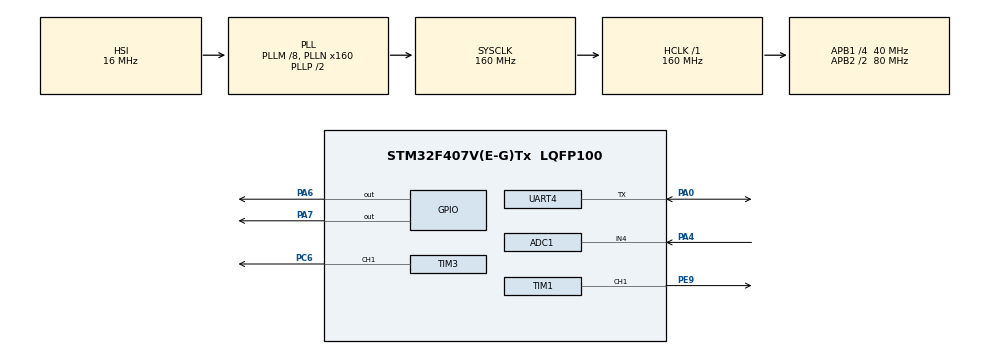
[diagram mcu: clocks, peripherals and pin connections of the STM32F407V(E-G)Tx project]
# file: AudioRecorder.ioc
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ADC1.Channel-0\#ChannelRegularConversion=ADC_CHANNEL_4
ADC1.ClockPrescaler=ADC_CLOCK_SYNC_PCLK_DIV8
ADC1.DMAContinuousRequests=ENABLE
ADC1.DataAlign=ADC_DATAALIGN_RIGHT
ADC1.EOCSelection=ADC_EOC_SEQ_CONV
ADC1.ExternalTrigConv=ADC_EXTERNALTRIGCONV_T3_TRGO
ADC1.InjNumberOfConversion=0
ADC1.NbrOfConversion=1
ADC1.NbrOfConversionFlag=1
ADC1.Rank-0\#ChannelRegularConversion=1
ADC1.SamplingTime-0\#ChannelRegularConversion=ADC_SAMPLETIME_3CYCLES
ADC1.master=1
Dma.ADC1.0.Direction=DMA_PERIPH_TO_MEMORY
Dma.ADC1.0.FIFOMode=DMA_FIFOMODE_DISABLE
Dma.ADC1.0.Instance=DMA2_Stream0
Dma.ADC1.0.MemDataAlignment=DMA_MDATAALIGN_HALFWORD
Dma.ADC1.0.MemInc=DMA_MINC_ENABLE
Dma.ADC1.0.Mode=DMA_CIRCULAR
Dma.ADC1.0.PeriphDataAlignment=DMA_PDATAALIGN_HALFWORD
Dma.ADC1.0.PeriphInc=DMA_PINC_DISABLE
Dma.ADC1.0.Priority=DMA_PRIORITY_HIGH
Dma.Request0=ADC1
Mcu.Family=STM32F4
Mcu.Name=STM32F407V(E-G)Tx
Mcu.Package=LQFP100
NVIC.DMA2_Stream0_IRQn=true\:0\:0\:false\:false\:true\:false\:true
NVIC.PriorityGroup=NVIC_PRIORITYGROUP_4
NVIC.TIM1_CC_IRQn=true\:0\:0\:false\:false\:true\:true\:true
NVIC.TIM1_UP_TIM10_IRQn=true\:0\:0\:false\:false\:true\:true\:true
NVIC.TIM2_IRQn=true\:0\:0\:false\:false\:true\:true\:true
NVIC.TIM3_IRQn=true\:0\:0\:false\:false\:true\:true\:true
PA0-WKUP.Mode=Half_duplex(single_wire_mode)
PA0-WKUP.Signal=UART4_TX
PA13.Signal=SYS_JTMS-SWDIO
PA14.Signal=SYS_JTCK-SWCLK
PA4.Signal=ADCx_IN4
PA6.Signal=GPIO_Output
PA7.Signal=GPIO_Output
PC6.Signal=S_TIM3_CH1
PE9.Signal=S_TIM1_CH1
ProjectManager.HeapSize=0x200
ProjectManager.StackSize=0x400
ProjectManager.TargetToolchain=MDK-ARM V4
RCC.48MHZClocksFreq_Value=80000000
RCC.AHBFreq_Value=160000000
RCC.APB1CLKDivider=RCC_HCLK_DIV4
RCC.APB1Freq_Value=40000000
RCC.APB1TimFreq_Value=80000000
RCC.APB2CLKDivider=RCC_HCLK_DIV2
RCC.APB2Freq_Value=80000000
RCC.APB2TimFreq_Value=160000000
RCC.CortexFreq_Value=160000000
RCC.HCLKFreq_Value=160000000
RCC.HSE_VALUE=25000000
RCC.HSI_VALUE=16000000
RCC.LSE_VALUE=32768
RCC.PLLM=8
RCC.PLLN=160
RCC.SYSCLKFreq_VALUE=160000000
RCC.SYSCLKSource=RCC_SYSCLKSOURCE_PLLCLK
RCC.VCOOutputFreq_Value=320000000
SH.ADCx_IN4.0=ADC1_IN4,IN4
SH.S_TIM1_CH1.0=TIM1_CH1,PWM Generation1 CH1
SH.S_TIM3_CH1.0=TIM3_CH1,PWM Generation1 CH1
TIM1.AutoReloadPreload=TIM_AUTORELOAD_PRELOAD_ENABLE
TIM1.Channel-PWM\ Generation1\ CH1=TIM_CHANNEL_1
TIM1.Period=125
TIM1.Prescaler=159
TIM1.Pulse-PWM\ Generation1\ CH1=75
TIM1.TIM_MasterOutputTrigger=TIM_TRGO_OC1REF
TIM1.TIM_MasterSlaveMode=TIM_MASTERSLAVEMODE_ENABLE
TIM2.AutoReloadPreload=TIM_AUTORELOAD_PRELOAD_ENABLE
TIM2.Channel-Output\ Compare1\ No\ Output=TIM_CHANNEL_1
TIM2.Period=10000
TIM2.Prescaler=7999
TIM3.AutoReloadPreload=TIM_AUTORELOAD_PRELOAD_ENABLE
TIM3.Channel-PWM\ Generation1\ CH1=TIM_CHANNEL_1
TIM3.Period=125
TIM3.Prescaler=79
TIM3.Pulse-PWM\ Generation1\ CH1=75
TIM3.TIM_MasterOutputTrigger=TIM_TRGO_UPDATE
TIM3.TIM_MasterSlaveMode=TIM_MASTERSLAVEMODE_ENABLE
UART4.VirtualMode=Asynchronous
VP_ADC1_TempSens_Input.Mode=IN-TempSens
VP_CRC_VS_CRC.Mode=CRC_Activate
VP_PDM2PCM_VS_PDM2PCM.Mode=PDM2PCM_Channel
VP_TIM1_VS_ClockSourceINT.Mode=Internal
VP_TIM2_VS_ClockSourceINT.Mode=Internal
VP_TIM2_VS_no_output1.Mode=Output Compare1 No Output
VP_TIM3_VS_ClockSourceINT.Mode=Internal
board=custom

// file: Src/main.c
/* USER CODE BEGIN Header */
/**
  ******************************************************************************
  * @file           : main.c
  * @brief          : Main program body
  ******************************************************************************
  * @attention
  *
  * <h2><center>&copy; Copyright (c) 2020 STMicroelectronics.
  * All rights reserved.</center></h2>
  *
  * This software component is licensed by ST under BSD 3-Clause license,
  * the "License"; You may not use this file except in compliance with the
  * License. You may obtain a copy of the License at:
  *                        opensource.org/licenses/BSD-3-Clause
  *
  ******************************************************************************
  */
/* USER CODE END Header */

#include "main.h"
#include "pdm2pcm.h"

/* USER CODE BEGIN PD */

#define ADC_BUFFER_SIZE (4000)

/* USER CODE END PD */

/* USER CODE BEGIN PM */

uint16_t AdcRes[ADC_BUFFER_SIZE];
uint16_t AdcRes1[ADC_BUFFER_SIZE];
uint32_t Dma2TransferCnt = 0;
uint32_t Dma2TransferCnt1 = 0;
uint32_t Dma2TransferErrCnt = 0;
/* USER CODE END PM */

ADC_HandleTypeDef hadc1;
DMA_HandleTypeDef hdma_adc1;

CRC_HandleTypeDef hcrc;

TIM_HandleTypeDef htim1;
TIM_HandleTypeDef htim2;
TIM_HandleTypeDef htim3;

UART_HandleTypeDef huart4;

void SystemClock_Config(void);
static void MX_GPIO_Init(void);
static void MX_DMA_Init(void);
static void MX_ADC1_Init(void);
static void MX_CRC_Init(void);
static void MX_TIM1_Init(void);
static void MX_UART4_Init(void);
static void MX_TIM2_Init(void);
static void MX_TIM3_Init(void);

/* USER CODE BEGIN 0 */
void TransferComplete(DMA_HandleTypeDef *hdma)
{
Dma2TransferCnt++;
}
void HAL_ADC_ConvCpltCallback1(ADC_HandleTypeDef* hadc)
{
  Dma2TransferCnt1++;
}
void HAL_ADC_ConvCpltCallback0(ADC_HandleTypeDef* hadc)
{
  Dma2TransferCnt++;
}
void TransferError(DMA_HandleTypeDef *hdma)
{
Dma2TransferErrCnt++;
}
/**
  * @brief  DMA half transfer complete callback.
  * @param  hdma pointer to a DMA_HandleTypeDef structure that contains
  *                the configuration information for the specified DMA module.
  * @retval None
  */
static void ADC_DMAHalfConvCplt(DMA_HandleTypeDef *hdma)
{
  ADC_HandleTypeDef* hadc = ( ADC_HandleTypeDef* )((DMA_HandleTypeDef* )hdma)->Parent;
   /* Half conversion callback */
#if (USE_HAL_ADC_REGISTER_CALLBACKS == 1)
  hadc->ConvHalfCpltCallback(hadc);
#else
  HAL_ADC_ConvHalfCpltCallback(hadc);
#endif /* USE_HAL_ADC_REGISTER_CALLBACKS */
}

/**
  * @brief  DMA error callback
  * @param  hdma pointer to a DMA_HandleTypeDef structure that contains
  *                the configuration information for the specified DMA module.
  * @retval None
  */
static void ADC_DMAError(DMA_HandleTypeDef *hdma)
{
  ADC_HandleTypeDef* hadc = ( ADC_HandleTypeDef* )((DMA_HandleTypeDef* )hdma)->Parent;
  hadc->State= HAL_ADC_STATE_ERROR_DMA;
  /* Set ADC error code to DMA error */
  hadc->ErrorCode |= HAL_ADC_ERROR_DMA;
   /* Error callback */
#if (USE_HAL_ADC_REGISTER_CALLBACKS == 1)
  hadc->ErrorCallback(hadc);
#else
  HAL_ADC_ErrorCallback(hadc);
#endif /* USE_HAL_ADC_REGISTER_CALLBACKS */
}
static void ADC_DMAConvCpltM1(DMA_HandleTypeDef *hdma)
{
  /* Retrieve ADC handle corresponding to current DMA handle */
  ADC_HandleTypeDef* hadc = ( ADC_HandleTypeDef* )((DMA_HandleTypeDef* )hdma)->Parent;

  /* Update state machine on conversion status if not in error state */
  if (HAL_IS_BIT_CLR(hadc->State, HAL_ADC_STATE_ERROR_INTERNAL | HAL_ADC_STATE_ERROR_DMA))
  {
    /* Update ADC state machine */
    SET_BIT(hadc->State, HAL_ADC_STATE_REG_EOC);

    /* Determine whether any further conversion upcoming on group regular   */
    /* by external trigger, continuous mode or scan sequence on going.      */
    /* Note: On STM32F4, there is no independent flag of end of sequence.   */
    /*       The test of scan sequence on going is done either with scan    */
    /*       sequence disabled or with end of conversion flag set to        */
    /*       of end of sequence.                                            */
    if(ADC_IS_SOFTWARE_START_REGULAR(hadc)                   &&
       (hadc->Init.ContinuousConvMode == DISABLE)            &&
       (HAL_IS_BIT_CLR(hadc->Instance->SQR1, ADC_SQR1_L) ||
        HAL_IS_BIT_CLR(hadc->Instance->CR2, ADC_CR2_EOCS)  )   )
    {
      /* Disable ADC end of single conversion interrupt on group regular */
      /* Note: Overrun interrupt was enabled with EOC interrupt in          */
      /* HAL_ADC_Start_IT(), but is not disabled here because can be used   */
      /* by overrun IRQ process below.                                      */
      __HAL_ADC_DISABLE_IT(hadc, ADC_IT_EOC);

      /* Set ADC state */
      CLEAR_BIT(hadc->State, HAL_ADC_STATE_REG_BUSY);

      if (HAL_IS_BIT_CLR(hadc->State, HAL_ADC_STATE_INJ_BUSY))
      {
        SET_BIT(hadc->State, HAL_ADC_STATE_READY);
      }
    }

    /* Conversion complete callback */
#if (USE_HAL_ADC_REGISTER_CALLBACKS == 1)
    hadc->ConvCpltCallback(hadc);
#else
    HAL_ADC_ConvCpltCallback1(hadc);
#endif /* USE_HAL_ADC_REGISTER_CALLBACKS */
  }
  else /* DMA and-or internal error occurred */
  {
    if ((hadc->State & HAL_ADC_STATE_ERROR_INTERNAL) != 0UL)
    {
      /* Call HAL ADC Error Callback function */
#if (USE_HAL_ADC_REGISTER_CALLBACKS == 1)
      hadc->ErrorCallback(hadc);
#else
      HAL_ADC_ErrorCallback(hadc);
#endif /* USE_HAL_ADC_REGISTER_CALLBACKS */
    }
	else
	{
      /* Call DMA error callback */
      hadc->DMA_Handle->XferErrorCallback(hdma);
    }
  }
}

static void ADC_DMAConvCpltM0(DMA_HandleTypeDef *hdma)
{
  /* Retrieve ADC handle corresponding to current DMA handle */
  ADC_HandleTypeDef* hadc = ( ADC_HandleTypeDef* )((DMA_HandleTypeDef* )hdma)->Parent;

  /* Update state machine on conversion status if not in error state */
  if (HAL_IS_BIT_CLR(hadc->State, HAL_ADC_STATE_ERROR_INTERNAL | HAL_ADC_STATE_ERROR_DMA))
  {
    /* Update ADC state machine */
    SET_BIT(hadc->State, HAL_ADC_STATE_REG_EOC);

    /* Determine whether any further conversion upcoming on group regular   */
    /* by external trigger, continuous mode or scan sequence on going.      */
    /* Note: On STM32F4, there is no independent flag of end of sequence.   */
    /*       The test of scan sequence on going is done either with scan    */
    /*       sequence disabled or with end of conversion flag set to        */
    /*       of end of sequence.                                            */
    if(ADC_IS_SOFTWARE_START_REGULAR(hadc)                   &&
       (hadc->Init.ContinuousConvMode == DISABLE)            &&
       (HAL_IS_BIT_CLR(hadc->Instance->SQR1, ADC_SQR1_L) ||
        HAL_IS_BIT_CLR(hadc->Instance->CR2, ADC_CR2_EOCS)  )   )
    {
      /* Disable ADC end of single conversion interrupt on group regular */
      /* Note: Overrun interrupt was enabled with EOC interrupt in          */
      /* HAL_ADC_Start_IT(), but is not disabled here because can be used   */
      /* by overrun IRQ process below.                                      */
      __HAL_ADC_DISABLE_IT(hadc, ADC_IT_EOC);

      /* Set ADC state */
      CLEAR_BIT(hadc->State, HAL_ADC_STATE_REG_BUSY);

      if (HAL_IS_BIT_CLR(hadc->State, HAL_ADC_STATE_INJ_BUSY))
      {
        SET_BIT(hadc->State, HAL_ADC_STATE_READY);
      }
    }

    /* Conversion complete callback */
#if (USE_HAL_ADC_REGISTER_CALLBACKS == 1)
    hadc->ConvCpltCallback(hadc);
#else
    HAL_ADC_ConvCpltCallback0(hadc);
#endif /* USE_HAL_ADC_REGISTER_CALLBACKS */
  }
  else /* DMA and-or internal error occurred */
  {
    if ((hadc->State & HAL_ADC_STATE_ERROR_INTERNAL) != 0UL)
    {
      /* Call HAL ADC Error Callback function */
#if (USE_HAL_ADC_REGISTER_CALLBACKS == 1)
      hadc->ErrorCallback(hadc);
#else
      HAL_ADC_ErrorCallback(hadc);
#endif /* USE_HAL_ADC_REGISTER_CALLBACKS */
    }
	else
	{
      /* Call DMA error callback */
      hadc->DMA_Handle->XferErrorCallback(hdma);
    }
  }
}

HAL_StatusTypeDef HAL_ADC_Start_DMA_DoubleBuffer(ADC_HandleTypeDef* hadc, uint32_t* pData, uint32_t* pData1, uint32_t Length)
{
  __IO uint32_t counter = 0U;
  ADC_Common_TypeDef *tmpADC_Common;

  /* Check the parameters */
  assert_param(IS_FUNCTIONAL_STATE(hadc->Init.ContinuousConvMode));
  assert_param(IS_ADC_EXT_TRIG_EDGE(hadc->Init.ExternalTrigConvEdge));

  /* Process locked */
  __HAL_LOCK(hadc);

  /* Enable the ADC peripheral */
  /* Check if ADC peripheral is disabled in order to enable it and wait during
  Tstab time the ADC's stabilization */
  if((hadc->Instance->CR2 & ADC_CR2_ADON) != ADC_CR2_ADON)
  {
    /* Enable the Peripheral */
    __HAL_ADC_ENABLE(hadc);

    /* Delay for ADC stabilization time */
    /* Compute number of CPU cycles to wait for */
    counter = (ADC_STAB_DELAY_US * (SystemCoreClock / 1000000U));
    while(counter != 0U)
    {
      counter--;
    }
  }

  /* Start conversion if ADC is effectively enabled */
  if(HAL_IS_BIT_SET(hadc->Instance->CR2, ADC_CR2_ADON))
  {
    /* Set ADC state                                                          */
    /* - Clear state bitfield related to regular group conversion results     */
    /* - Set state bitfield related to regular group operation                */
    ADC_STATE_CLR_SET(hadc->State,
                      HAL_ADC_STATE_READY | HAL_ADC_STATE_REG_EOC | HAL_ADC_STATE_REG_OVR,
                      HAL_ADC_STATE_REG_BUSY);

    /* If conversions on group regular are also triggering group injected,    */
    /* update ADC state.                                                      */
    if (READ_BIT(hadc->Instance->CR1, ADC_CR1_JAUTO) != RESET)
    {
      ADC_STATE_CLR_SET(hadc->State, HAL_ADC_STATE_INJ_EOC, HAL_ADC_STATE_INJ_BUSY);
    }

    /* State machine update: Check if an injected conversion is ongoing */
    if (HAL_IS_BIT_SET(hadc->State, HAL_ADC_STATE_INJ_BUSY))
    {
      /* Reset ADC error code fields related to conversions on group regular */
      CLEAR_BIT(hadc->ErrorCode, (HAL_ADC_ERROR_OVR | HAL_ADC_ERROR_DMA));
    }
    else
    {
      /* Reset ADC all error code fields */
      ADC_CLEAR_ERRORCODE(hadc);
    }

    /* Process unlocked */
    /* Unlock before starting ADC conversions: in case of potential           */
    /* interruption, to let the process to ADC IRQ Handler.                   */
    __HAL_UNLOCK(hadc);

    /* Pointer to the common control register to which is belonging hadc    */
    /* (Depending on STM32F4 product, there may be up to 3 ADCs and 1 common */
    /* control register)                                                    */
    tmpADC_Common = ADC_COMMON_REGISTER(hadc);

    /* Set the DMA transfer complete callback */
    hadc->DMA_Handle->XferCpltCallback = ADC_DMAConvCpltM0;

    hadc->DMA_Handle->XferM1CpltCallback = ADC_DMAConvCpltM1;

    /* Set the DMA half transfer complete callback */
    hadc->DMA_Handle->XferHalfCpltCallback = ADC_DMAHalfConvCplt;

    /* Set the DMA error callback */
    hadc->DMA_Handle->XferErrorCallback = ADC_DMAError;

    /* Manage ADC and DMA start: ADC overrun interruption, DMA start, ADC     */
    /* start (in case of SW start):                                           */

    /* Clear regular group conversion flag and overrun flag */
    /* (To ensure of no unknown state from potential previous ADC operations) */
    __HAL_ADC_CLEAR_FLAG(hadc, ADC_FLAG_EOC | ADC_FLAG_OVR);

    /* Enable ADC overrun interrupt */
    __HAL_ADC_ENABLE_IT(hadc, ADC_IT_OVR);

    /* Enable ADC DMA mode */
    hadc->Instance->CR2 |= ADC_CR2_DMA;

    /* Start the DMA channel */
    HAL_DMAEx_MultiBufferStart_IT(hadc->DMA_Handle, (uint32_t)&hadc->Instance->DR, (uint32_t)pData, (uint32_t)pData1, Length);

    /* Check if Multimode enabled */
    if(HAL_IS_BIT_CLR(tmpADC_Common->CCR, ADC_CCR_MULTI))
    {
#if defined(ADC2) && defined(ADC3)
      if((hadc->Instance == ADC1) || ((hadc->Instance == ADC2) && ((ADC->CCR & ADC_CCR_MULTI_Msk) < ADC_CCR_MULTI_0)) \
                                  || ((hadc->Instance == ADC3) && ((ADC->CCR & ADC_CCR_MULTI_Msk) < ADC_CCR_MULTI_4)))
      {
#endif /* ADC2 || ADC3 */
        /* if no external trigger present enable software conversion of regular channels */
        if((hadc->Instance->CR2 & ADC_CR2_EXTEN) == RESET)
        {
          /* Enable the selected ADC software conversion for regular group */
          hadc->Instance->CR2 |= (uint32_t)ADC_CR2_SWSTART;
        }
#if defined(ADC2) && defined(ADC3)
      }
#endif /* ADC2 || ADC3 */
    }
    else
    {
      /* if instance of handle correspond to ADC1 and  no external trigger present enable software conversion of regular channels */
      if((hadc->Instance == ADC1) && ((hadc->Instance->CR2 & ADC_CR2_EXTEN) == RESET))
      {
        /* Enable the selected ADC software conversion for regular group */
          hadc->Instance->CR2 |= (uint32_t)ADC_CR2_SWSTART;
      }
    }
  }

  /* Return function status */
  return HAL_OK;
}

/* USER CODE END 0 */

int main(void)
{

  /* MCU Configuration--------------------------------------------------------*/

  /* Reset of all peripherals, Initializes the Flash interface and the Systick. */
  HAL_Init();

  /* Configure the system clock */
  SystemClock_Config();

  /* Initialize all configured peripherals */
  MX_GPIO_Init();
  MX_DMA_Init();
  MX_ADC1_Init();
  MX_CRC_Init();
  MX_TIM1_Init();
  MX_UART4_Init();
  MX_PDM2PCM_Init();
  MX_TIM2_Init();
  MX_TIM3_Init();
  /* USER CODE BEGIN 2 */
  //DMA_Config();
  HAL_ADC_Start_DMA_DoubleBuffer(&hadc1, (uint32_t *)AdcRes,(uint32_t *)AdcRes1, ADC_BUFFER_SIZE);
  HAL_TIM_Base_Start_IT(&htim2);
  HAL_TIM_Base_Start_IT(&htim1);
  HAL_TIM_Base_Start_IT(&htim3);
  /* USER CODE END 2 */

  /* Infinite loop */
  while (1)
  {

  }
}

void SystemClock_Config(void)
{
  RCC_OscInitTypeDef RCC_OscInitStruct = {0};
  RCC_ClkInitTypeDef RCC_ClkInitStruct = {0};

  /** Configure the main internal regulator output voltage
  */
  __HAL_RCC_PWR_CLK_ENABLE();
  __HAL_PWR_VOLTAGESCALING_CONFIG(PWR_REGULATOR_VOLTAGE_SCALE1);
  /** Initializes the CPU, AHB and APB busses clocks
  */
  RCC_OscInitStruct.OscillatorType = RCC_OSCILLATORTYPE_HSI;
  RCC_OscInitStruct.HSIState = RCC_HSI_ON;
  RCC_OscInitStruct.HSICalibrationValue = RCC_HSICALIBRATION_DEFAULT;
  RCC_OscInitStruct.PLL.PLLState = RCC_PLL_ON;
  RCC_OscInitStruct.PLL.PLLSource = RCC_PLLSOURCE_HSI;
  RCC_OscInitStruct.PLL.PLLM = 8;
  RCC_OscInitStruct.PLL.PLLN = 160;
  RCC_OscInitStruct.PLL.PLLP = RCC_PLLP_DIV2;
  RCC_OscInitStruct.PLL.PLLQ = 4;
  if (HAL_RCC_OscConfig(&RCC_OscInitStruct) != HAL_OK)
  {
    Error_Handler();
  }
  /** Initializes the CPU, AHB and APB busses clocks
  */
  RCC_ClkInitStruct.ClockType = RCC_CLOCKTYPE_HCLK|RCC_CLOCKTYPE_SYSCLK
                              |RCC_CLOCKTYPE_PCLK1|RCC_CLOCKTYPE_PCLK2;
  RCC_ClkInitStruct.SYSCLKSource = RCC_SYSCLKSOURCE_PLLCLK;
  RCC_ClkInitStruct.AHBCLKDivider = RCC_SYSCLK_DIV1;
  RCC_ClkInitStruct.APB1CLKDivider = RCC_HCLK_DIV4;
  RCC_ClkInitStruct.APB2CLKDivider = RCC_HCLK_DIV2;

  if (HAL_RCC_ClockConfig(&RCC_ClkInitStruct, FLASH_LATENCY_5) != HAL_OK)
  {
    Error_Handler();
  }
}

static void MX_ADC1_Init(void)
{

  ADC_ChannelConfTypeDef sConfig = {0};

  /** Configure the global features of the ADC (Clock, Resolution, Data Alignment and number of conversion)
  */
  hadc1.Instance = ADC1;
  hadc1.Init.ClockPrescaler = ADC_CLOCK_SYNC_PCLK_DIV8;
  hadc1.Init.Resolution = ADC_RESOLUTION_12B;
  hadc1.Init.ScanConvMode = DISABLE;
  hadc1.Init.ContinuousConvMode = DISABLE;
  hadc1.Init.DiscontinuousConvMode = DISABLE;
  hadc1.Init.ExternalTrigConvEdge = ADC_EXTERNALTRIGCONVEDGE_RISING;
  hadc1.Init.ExternalTrigConv = ADC_EXTERNALTRIGCONV_T3_TRGO;
  hadc1.Init.DataAlign = ADC_DATAALIGN_RIGHT;
  hadc1.Init.NbrOfConversion = 1;
  hadc1.Init.DMAContinuousRequests = ENABLE;
  hadc1.Init.EOCSelection = ADC_EOC_SEQ_CONV;
  if (HAL_ADC_Init(&hadc1) != HAL_OK)
  {
    Error_Handler();
  }
  /** Configure for the selected ADC regular channel its corresponding rank in the sequencer and its sample time.
  */
  sConfig.Channel = ADC_CHANNEL_4;
  sConfig.Rank = 1;
  sConfig.SamplingTime = ADC_SAMPLETIME_3CYCLES;
  if (HAL_ADC_ConfigChannel(&hadc1, &sConfig) != HAL_OK)
  {
    Error_Handler();
  }

}

static void MX_CRC_Init(void)
{

  hcrc.Instance = CRC;
  if (HAL_CRC_Init(&hcrc) != HAL_OK)
  {
    Error_Handler();
  }
  __HAL_CRC_DR_RESET(&hcrc);

}

static void MX_TIM1_Init(void)
{

  TIM_ClockConfigTypeDef sClockSourceConfig = {0};
  TIM_MasterConfigTypeDef sMasterConfig = {0};
  TIM_OC_InitTypeDef sConfigOC = {0};
  TIM_BreakDeadTimeConfigTypeDef sBreakDeadTimeConfig = {0};

  htim1.Instance = TIM1;
  htim1.Init.Prescaler = 159;
  htim1.Init.CounterMode = TIM_COUNTERMODE_UP;
  htim1.Init.Period = 125;
  htim1.Init.ClockDivision = TIM_CLOCKDIVISION_DIV1;
  htim1.Init.RepetitionCounter = 0;
  htim1.Init.AutoReloadPreload = TIM_AUTORELOAD_PRELOAD_ENABLE;
  if (HAL_TIM_Base_Init(&htim1) != HAL_OK)
  {
    Error_Handler();
  }
  sClockSourceConfig.ClockSource = TIM_CLOCKSOURCE_INTERNAL;
  if (HAL_TIM_ConfigClockSource(&htim1, &sClockSourceConfig) != HAL_OK)
  {
    Error_Handler();
  }
  if (HAL_TIM_PWM_Init(&htim1) != HAL_OK)
  {
    Error_Handler();
  }
  sMasterConfig.MasterOutputTrigger = TIM_TRGO_OC1REF;
  sMasterConfig.MasterSlaveMode = TIM_MASTERSLAVEMODE_ENABLE;
  if (HAL_TIMEx_MasterConfigSynchronization(&htim1, &sMasterConfig) != HAL_OK)
  {
    Error_Handler();
  }
  sConfigOC.OCMode = TIM_OCMODE_PWM1;
  sConfigOC.Pulse = 75;
  sConfigOC.OCPolarity = TIM_OCPOLARITY_HIGH;
  sConfigOC.OCNPolarity = TIM_OCNPOLARITY_HIGH;
  sConfigOC.OCFastMode = TIM_OCFAST_DISABLE;
  sConfigOC.OCIdleState = TIM_OCIDLESTATE_RESET;
  sConfigOC.OCNIdleState = TIM_OCNIDLESTATE_RESET;
  if (HAL_TIM_PWM_ConfigChannel(&htim1, &sConfigOC, TIM_CHANNEL_1) != HAL_OK)
  {
    Error_Handler();
  }
  sBreakDeadTimeConfig.OffStateRunMode = TIM_OSSR_DISABLE;
  sBreakDeadTimeConfig.OffStateIDLEMode = TIM_OSSI_DISABLE;
  sBreakDeadTimeConfig.LockLevel = TIM_LOCKLEVEL_OFF;
  sBreakDeadTimeConfig.DeadTime = 0;
  sBreakDeadTimeConfig.BreakState = TIM_BREAK_DISABLE;
  sBreakDeadTimeConfig.BreakPolarity = TIM_BREAKPOLARITY_HIGH;
  sBreakDeadTimeConfig.AutomaticOutput = TIM_AUTOMATICOUTPUT_DISABLE;
  if (HAL_TIMEx_ConfigBreakDeadTime(&htim1, &sBreakDeadTimeConfig) != HAL_OK)
  {
    Error_Handler();
  }
  HAL_TIM_MspPostInit(&htim1);

}

static void MX_TIM2_Init(void)
{

  TIM_ClockConfigTypeDef sClockSourceConfig = {0};
  TIM_MasterConfigTypeDef sMasterConfig = {0};
  TIM_OC_InitTypeDef sConfigOC = {0};

  htim2.Instance = TIM2;
  htim2.Init.Prescaler = 7999;
  htim2.Init.CounterMode = TIM_COUNTERMODE_UP;
  htim2.Init.Period = 10000;
  htim2.Init.ClockDivision = TIM_CLOCKDIVISION_DIV1;
  htim2.Init.AutoReloadPreload = TIM_AUTORELOAD_PRELOAD_ENABLE;
  if (HAL_TIM_Base_Init(&htim2) != HAL_OK)
  {
    Error_Handler();
  }
  sClockSourceConfig.ClockSource = TIM_CLOCKSOURCE_INTERNAL;
  if (HAL_TIM_ConfigClockSource(&htim2, &sClockSourceConfig) != HAL_OK)
  {
    Error_Handler();
  }
  if (HAL_TIM_OC_Init(&htim2) != HAL_OK)
  {
    Error_Handler();
  }
  sMasterConfig.MasterOutputTrigger = TIM_TRGO_RESET;
  sMasterConfig.MasterSlaveMode = TIM_MASTERSLAVEMODE_DISABLE;
  if (HAL_TIMEx_MasterConfigSynchronization(&htim2, &sMasterConfig) != HAL_OK)
  {
    Error_Handler();
  }
  sConfigOC.OCMode = TIM_OCMODE_TIMING;
  sConfigOC.Pulse = 0;
  sConfigOC.OCPolarity = TIM_OCPOLARITY_HIGH;
  sConfigOC.OCFastMode = TIM_OCFAST_DISABLE;
  if (HAL_TIM_OC_ConfigChannel(&htim2, &sConfigOC, TIM_CHANNEL_1) != HAL_OK)
  {
    Error_Handler();
  }

}

static void MX_TIM3_Init(void)
{

  TIM_ClockConfigTypeDef sClockSourceConfig = {0};
  TIM_MasterConfigTypeDef sMasterConfig = {0};
  TIM_OC_InitTypeDef sConfigOC = {0};

  htim3.Instance = TIM3;
  htim3.Init.Prescaler = 79;
  htim3.Init.CounterMode = TIM_COUNTERMODE_UP;
  htim3.Init.Period = 125;
  htim3.Init.ClockDivision = TIM_CLOCKDIVISION_DIV1;
  htim3.Init.AutoReloadPreload = TIM_AUTORELOAD_PRELOAD_ENABLE;
  if (HAL_TIM_Base_Init(&htim3) != HAL_OK)
  {
    Error_Handler();
  }
  sClockSourceConfig.ClockSource = TIM_CLOCKSOURCE_INTERNAL;
  if (HAL_TIM_ConfigClockSource(&htim3, &sClockSourceConfig) != HAL_OK)
  {
    Error_Handler();
  }
  if (HAL_TIM_PWM_Init(&htim3) != HAL_OK)
  {
    Error_Handler();
  }
  sMasterConfig.MasterOutputTrigger = TIM_TRGO_UPDATE;
  sMasterConfig.MasterSlaveMode = TIM_MASTERSLAVEMODE_ENABLE;
  if (HAL_TIMEx_MasterConfigSynchronization(&htim3, &sMasterConfig) != HAL_OK)
  {
    Error_Handler();
  }
  sConfigOC.OCMode = TIM_OCMODE_PWM1;
  sConfigOC.Pulse = 75;
  sConfigOC.OCPolarity = TIM_OCPOLARITY_HIGH;
  sConfigOC.OCFastMode = TIM_OCFAST_DISABLE;
  if (HAL_TIM_PWM_ConfigChannel(&htim3, &sConfigOC, TIM_CHANNEL_1) != HAL_OK)
  {
    Error_Handler();
  }
  HAL_TIM_MspPostInit(&htim3);

}

static void MX_UART4_Init(void)
{

  huart4.Instance = UART4;
  huart4.Init.BaudRate = 115200;
  huart4.Init.WordLength = UART_WORDLENGTH_8B;
  huart4.Init.StopBits = UART_STOPBITS_1;
  huart4.Init.Parity = UART_PARITY_NONE;
  huart4.Init.Mode = UART_MODE_TX_RX;
  huart4.Init.HwFlowCtl = UART_HWCONTROL_NONE;
  huart4.Init.OverSampling = UART_OVERSAMPLING_16;
  if (HAL_HalfDuplex_Init(&huart4) != HAL_OK)
  {
    Error_Handler();
  }

}

static void MX_DMA_Init(void)
{

  /* DMA controller clock enable */
  __HAL_RCC_DMA2_CLK_ENABLE();

  /* DMA interrupt init */
  /* DMA2_Stream0_IRQn interrupt configuration */
  HAL_NVIC_SetPriority(DMA2_Stream0_IRQn, 0, 0);
  HAL_NVIC_EnableIRQ(DMA2_Stream0_IRQn);

}

static void MX_GPIO_Init(void)
{
  GPIO_InitTypeDef GPIO_InitStruct = {0};

  /* GPIO Ports Clock Enable */
  __HAL_RCC_GPIOE_CLK_ENABLE();
  __HAL_RCC_GPIOC_CLK_ENABLE();
  __HAL_RCC_GPIOH_CLK_ENABLE();
  __HAL_RCC_GPIOA_CLK_ENABLE();
  __HAL_RCC_GPIOB_CLK_ENABLE();
  __HAL_RCC_GPIOD_CLK_ENABLE();

  /*Configure GPIO pin Output Level */
  HAL_GPIO_WritePin(GPIOA, GPIO_PIN_6|GPIO_PIN_7, GPIO_PIN_RESET);

  /*Configure GPIO pins : PE2 PE3 PE4 PE5
                           PE6 PE7 PE8 PE10
                           PE11 PE12 PE13 PE14
                           PE15 PE0 PE1 */
  GPIO_InitStruct.Pin = GPIO_PIN_2|GPIO_PIN_3|GPIO_PIN_4|GPIO_PIN_5
                          |GPIO_PIN_6|GPIO_PIN_7|GPIO_PIN_8|GPIO_PIN_10
                          |GPIO_PIN_11|GPIO_PIN_12|GPIO_PIN_13|GPIO_PIN_14
                          |GPIO_PIN_15|GPIO_PIN_0|GPIO_PIN_1;
  GPIO_InitStruct.Mode = GPIO_MODE_ANALOG;
  GPIO_InitStruct.Pull = GPIO_NOPULL;
  HAL_GPIO_Init(GPIOE, &GPIO_InitStruct);

  /*Configure GPIO pins : PC13 PC14 PC15 PC0
                           PC1 PC2 PC3 PC4
                           PC5 PC7 PC8 PC9
                           PC10 PC11 PC12 */
  GPIO_InitStruct.Pin = GPIO_PIN_13|GPIO_PIN_14|GPIO_PIN_15|GPIO_PIN_0
                          |GPIO_PIN_1|GPIO_PIN_2|GPIO_PIN_3|GPIO_PIN_4
                          |GPIO_PIN_5|GPIO_PIN_7|GPIO_PIN_8|GPIO_PIN_9
                          |GPIO_PIN_10|GPIO_PIN_11|GPIO_PIN_12;
  GPIO_InitStruct.Mode = GPIO_MODE_ANALOG;
  GPIO_InitStruct.Pull = GPIO_NOPULL;
  HAL_GPIO_Init(GPIOC, &GPIO_InitStruct);

  /*Configure GPIO pins : PH0 PH1 */
  GPIO_InitStruct.Pin = GPIO_PIN_0|GPIO_PIN_1;
  GPIO_InitStruct.Mode = GPIO_MODE_ANALOG;
  GPIO_InitStruct.Pull = GPIO_NOPULL;
  HAL_GPIO_Init(GPIOH, &GPIO_InitStruct);

  /*Configure GPIO pins : PA1 PA2 PA3 PA5
                           PA8 PA9 PA10 PA11
                           PA12 PA15 */
  GPIO_InitStruct.Pin = GPIO_PIN_1|GPIO_PIN_2|GPIO_PIN_3|GPIO_PIN_5
                          |GPIO_PIN_8|GPIO_PIN_9|GPIO_PIN_10|GPIO_PIN_11
                          |GPIO_PIN_12|GPIO_PIN_15;
  GPIO_InitStruct.Mode = GPIO_MODE_ANALOG;
  GPIO_InitStruct.Pull = GPIO_NOPULL;
  HAL_GPIO_Init(GPIOA, &GPIO_InitStruct);

  /*Configure GPIO pins : PA6 PA7 */
  GPIO_InitStruct.Pin = GPIO_PIN_6|GPIO_PIN_7;
  GPIO_InitStruct.Mode = GPIO_MODE_OUTPUT_PP;
  GPIO_InitStruct.Pull = GPIO_NOPULL;
  GPIO_InitStruct.Speed = GPIO_SPEED_FREQ_LOW;
  HAL_GPIO_Init(GPIOA, &GPIO_InitStruct);

  /*Configure GPIO pins : PB0 PB1 PB2 PB10
                           PB11 PB12 PB13 PB14
                           PB15 PB3 PB4 PB5
                           PB6 PB7 PB8 PB9 */
  GPIO_InitStruct.Pin = GPIO_PIN_0|GPIO_PIN_1|GPIO_PIN_2|GPIO_PIN_10
                          |GPIO_PIN_11|GPIO_PIN_12|GPIO_PIN_13|GPIO_PIN_14
                          |GPIO_PIN_15|GPIO_PIN_3|GPIO_PIN_4|GPIO_PIN_5
                          |GPIO_PIN_6|GPIO_PIN_7|GPIO_PIN_8|GPIO_PIN_9;
  GPIO_InitStruct.Mode = GPIO_MODE_ANALOG;
  GPIO_InitStruct.Pull = GPIO_NOPULL;
  HAL_GPIO_Init(GPIOB, &GPIO_InitStruct);

  /*Configure GPIO pins : PD8 PD9 PD10 PD11
                           PD12 PD13 PD14 PD15
                           PD0 PD1 PD2 PD3
                           PD4 PD5 PD6 PD7 */
  GPIO_InitStruct.Pin = GPIO_PIN_8|GPIO_PIN_9|GPIO_PIN_10|GPIO_PIN_11
                          |GPIO_PIN_12|GPIO_PIN_13|GPIO_PIN_14|GPIO_PIN_15
                          |GPIO_PIN_0|GPIO_PIN_1|GPIO_PIN_2|GPIO_PIN_3
                          |GPIO_PIN_4|GPIO_PIN_5|GPIO_PIN_6|GPIO_PIN_7;
  GPIO_InitStruct.Mode = GPIO_MODE_ANALOG;
  GPIO_InitStruct.Pull = GPIO_NOPULL;
  HAL_GPIO_Init(GPIOD, &GPIO_InitStruct);

}

void Error_Handler(void)
{
}

/************************ (C) COPYRIGHT STMicroelectronics *****END OF FILE****/
